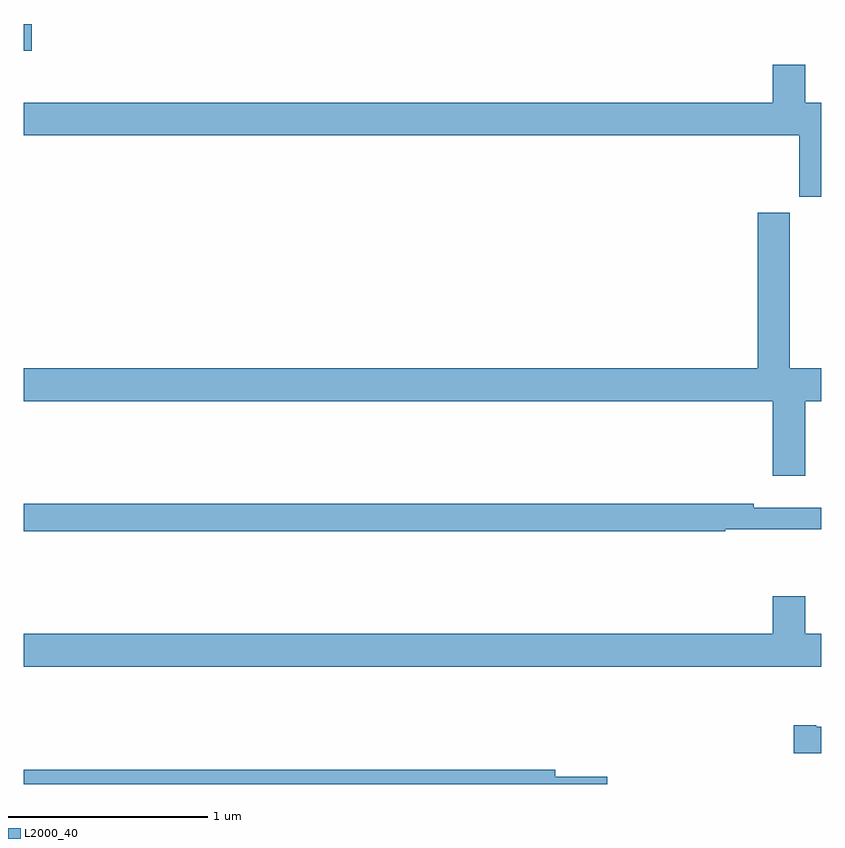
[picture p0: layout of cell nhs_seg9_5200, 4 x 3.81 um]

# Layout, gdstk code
import gdstk
lib = gdstk.Library(unit=1e-6, precision=1e-09)
def R(c, l, rs):  # rectangles x0, y0, x1, y1
    for r in rs: c.add(gdstk.rectangle(r[:2], r[2:], *l))
def P(c, l, *ps):  # polygons
    for p in ps: c.add(gdstk.Polygon(p, *l))
L2000_40 = (2000, 40)

nhs_seg9_5200 = lib.new_cell('nhs_seg9_5200')
R(nhs_seg9_5200, L2000_40, [(413,1198.175,413.041,1198.31)])
P(nhs_seg9_5200, L2000_40, [(417,1197.916),(416.92,1197.916),(416.92,1198.105),(416.756,1198.105),(416.756,1197.916),(413,1197.916),(413,1197.752),(416.888,1197.752),(416.888,1197.443),(417,1197.443)],
  [(416.92,1196.42),(417,1196.42),(417,1196.584),(416.841,1196.584),(416.841,1197.364),(416.681,1197.364),(416.681,1196.584),(413,1196.584),(413,1196.42),(416.756,1196.42),(416.756,1196.046),(416.92,1196.046)],
  [(416.518,1195.776),(417,1195.776),(417,1195.885),(416.66,1195.885),(416.66,1195.904),(413,1195.904),(413,1195.768),(416.518,1195.768)],
  [(417,1195.252),(416.92,1195.252),(416.92,1195.441),(416.756,1195.441),(416.756,1195.252),(413,1195.252),(413,1195.088),(417,1195.088)],
  [(417,1194.787),(416.974,1194.787),(416.974,1194.795),(416.862,1194.795),(416.862,1194.653),(417,1194.653)],
  [(415.927,1194.536),(415.666,1194.536),(415.666,1194.572),(413,1194.572),(413,1194.5),(415.927,1194.5)])

lib.write_gds('nhs_seg9_5200.gds')
